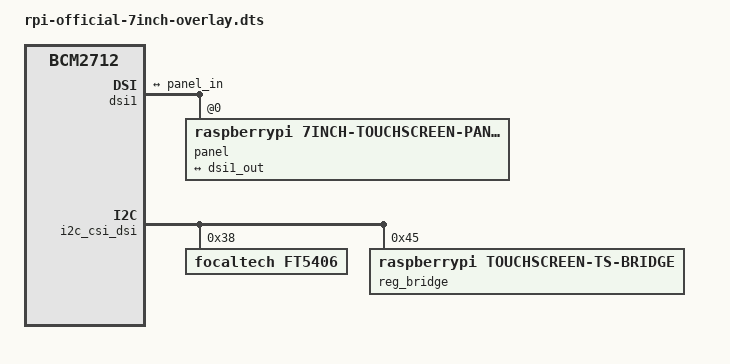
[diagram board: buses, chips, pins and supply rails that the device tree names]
// Raspberry Pi 5 - MIPI DSI Display Overlays
// Device Tree Overlays for various MIPI/DSI displays
// Copyright (C) 2025 The Android Open Source Project

/dts-v1/;
/plugin/;

// ============================================================================
// Official Raspberry Pi 7" Touchscreen Display
// ============================================================================
/ {
    compatible = "brcm,bcm2712";
    
    fragment@0 {
        target = <&dsi1>;
        __overlay__ {
            status = "okay";
            #address-cells = <1>;
            #size-cells = <0>;
            
            port {
                dsi1_out: endpoint {
                    remote-endpoint = <&panel_in>;
                };
            };
            
            panel: panel@0 {
                compatible = "raspberrypi,7inch-touchscreen-panel";
                reg = <0>;
                
                port {
                    panel_in: endpoint {
                        remote-endpoint = <&dsi1_out>;
                    };
                };
            };
        };
    };
    
    fragment@1 {
        target = <&i2c_csi_dsi>;
        __overlay__ {
            status = "okay";
            #address-cells = <1>;
            #size-cells = <0>;
            
            ft5406: ft5406@38 {
                compatible = "focaltech,ft5406";
                reg = <0x38>;
                touchscreen-size-x = <800>;
                touchscreen-size-y = <480>;
            };
            
            reg_bridge: reg_bridge@45 {
                compatible = "raspberrypi,touchscreen-ts-bridge";
                reg = <0x45>;
            };
        };
    };
};
